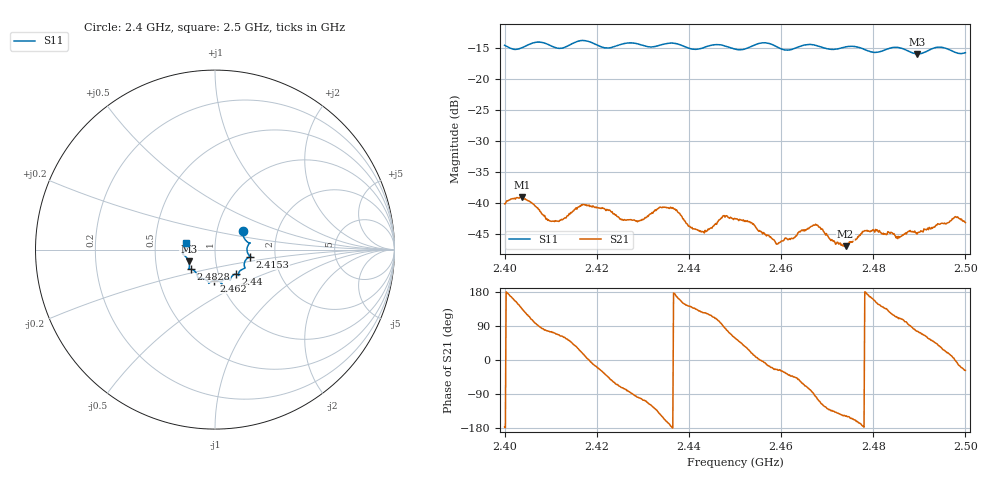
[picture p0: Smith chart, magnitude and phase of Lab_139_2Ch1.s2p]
# Hz S RI R 50
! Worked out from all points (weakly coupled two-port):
!   601 points, 2.4 GHz to 2.5 GHz, reference 50 ohm
!   highest |S21| = -39.05 dB at 2.4038 GHz (marker M1); lowest = -47.0 dB at 2.474 GHz (marker M2)
!   lowest |S11| = -15.9 dB at 2.4895 GHz (marker M3), VSWR 1.38, Z = 37 - j5.02 ohm
!   |S11| at or under -10 dB: start of sweep to end of sweep
!   S12 and S22 are empty: the file has one direction only
!   S11 on the Smith chart (normalised r, x): 2.4 GHz: 1.33, +0.29; 2.4153 GHz: 1.48, -0.12; 2.44 GHz: 1.21, -0.34; 2.462 GHz: 0.93, -0.33; 2.4828 GHz: 0.74, -0.17; 2.5 GHz: 0.72, +0.06
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2.4e9  0.1557 0.1063  -0.00985 -0.000589  0 0  0 0
2.403833e9  0.1738 0.049  -0.0078 0.00797  0 0  0 0
2.410167e9  0.1844 0.0238  0.00186 0.00685  0 0  0 0
2.415333e9  0.1956 -0.0392  0.00706 0.00546  0 0  0 0
2.416667e9  0.2013 -0.0429  0.00903 0.00349  0 0  0 0
2.428833e9  0.1628 -0.1047  -0.00101 -0.00697  0 0  0 0
2.433333e9  0.131 -0.1334  -0.00664 -0.00612  0 0  0 0
2.436833e9  0.1326 -0.1437  -0.00889 0.000729  0 0  0 0
2.44e9  0.1145 -0.1366  -0.00509 0.00399  0 0  0 0
2.4435e9  0.0872 -0.1597  -0.00343 0.00494  0 0  0 0
2.4475e9  0.0834 -0.1682  0.000232 0.00789  0 0  0 0
2.45e9  0.065 -0.1631  0.00396 0.00636  0 0  0 0
2.459167e9  0.029 -0.1801  0.00422 -0.00196  0 0  0 0
2.462e9  -0.00554 -0.1731  0.00378 -0.00338  0 0  0 0
2.466667e9  -0.0346 -0.1877  0.00071 -0.00645  0 0  0 0
2.474e9  -0.0878 -0.1604  -0.00382 -0.00234  0 0  0 0
2.478167e9  -0.0992 -0.1429  -0.00599 2.85e-05  0 0  0 0
2.482833e9  -0.1362 -0.1091  -0.00397 0.00387  0 0  0 0
2.483333e9  -0.1399 -0.1089  -0.00369 0.00451  0 0  0 0
2.4895e9  -0.1459 -0.0661  0.00139 0.00543  0 0  0 0
2.497833e9  -0.1649 0.00266  0.00776 -0.000222  0 0  0 0
2.5e9  -0.1596 0.0389  0.00617 -0.00319  0 0  0 0
